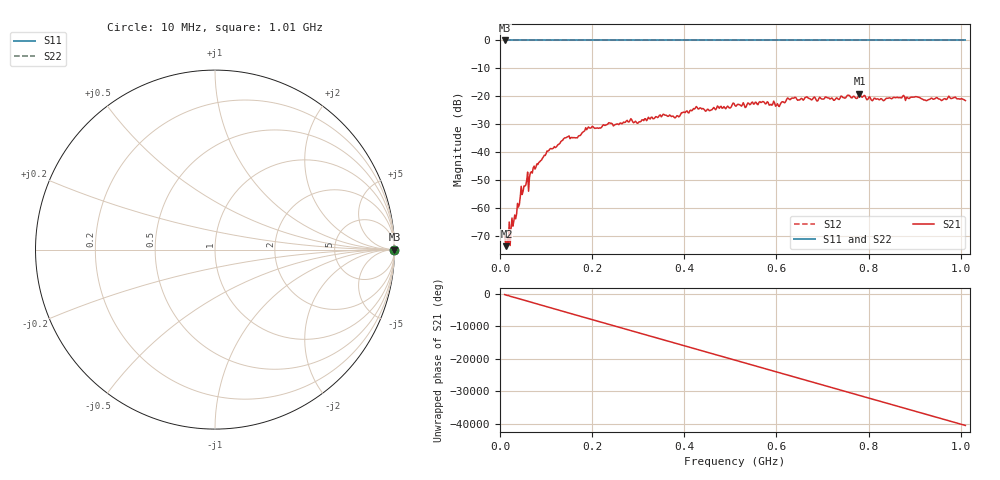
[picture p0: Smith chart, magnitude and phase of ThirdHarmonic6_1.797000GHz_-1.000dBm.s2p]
! 8/16/2025 9:45:01 PM
! C:\ANRITSUVNA\TEMP\TEMP.S2P
! CHANNEL.1
! TR.MEASUREMENT
! RAW.DATA
! RF.CORRECTION.OFF
! AVERAGING.OFF
! IF.BANDWIDTH: 5KHZ
! SWEEPTYPE:  FREQ.SWEEP(Linear)
! Reference Plane Port Info
! PORT:  PORT1  PORT2
! DISTANCE:  0  m  0  m
! TIME:  0  s  0  s
! PHASE.OFFSET:  0  deg.  0  deg.
! LOSS:  0  dB  0  dB
! REF.LOSS:  0  dB  0  dB
! REF.FREQ:  0  Hz  0  Hz
! Power Info
! POWER:  -20  dBm  -20  dBm
! EFF.POWER:  -20  dBm  -20  dBm
! SOURCE.ATTEN:  0  dB  0  dB
! TEST.ATTEN:  0  dB  0  dB
# GHZ S RI R 50.0
! FREQ.GHZ  S11RE  S11IM  S21RE  S21IM  S12RE  S12IM  S22RE  S22IM
!; PortSelection: Port_12
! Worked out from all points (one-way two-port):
!   501 points, 10 MHz to 1.01 GHz, reference 50 ohm
!   highest |S21| = -19.05 dB at 780 MHz (marker M1); lowest = -73.5 dB at 14 MHz (marker M2)
!   lowest |S11| = 0.0 dB at 10 MHz (marker M3)
!   |S11| at or under -10 dB: nowhere
!   |S22| runs from 0.0 to 0.0 dB; largest |S21 - S12| = 1.1
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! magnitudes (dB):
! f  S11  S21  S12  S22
! 10 MHz  0.0  -69.6  0.0  0.0
! 14 MHz  0.0  -73.5  0.0  0.0
! 32 MHz  0.0  -62.3  0.0  0.0
! 48 MHz  0.0  -55.0  0.0  0.0
! 66 MHz  0.0  -47.2  0.0  0.0
! 70 MHz  0.0  -47.4  0.0  0.0
! 106 MHz  0.0  -39.3  0.0  0.0
! 142 MHz  0.0  -34.8  0.0  0.0
! 178 MHz  0.0  -33.0  0.0  0.0
! 196 MHz  0.0  -31.3  0.0  0.0
! 344 MHz  0.0  -27.3  0.0  0.0
! 384 MHz  0.0  -26.9  0.0  0.0
! 424 MHz  0.0  -24.1  0.0  0.0
! 456 MHz  0.0  -25.0  0.0  0.0
! 510 MHz  0.0  -23.2  0.0  0.0
! 568 MHz  0.0  -22.1  0.0  0.0
! 602 MHz  0.0  -22.6  0.0  0.0
! 638 MHz  0.0  -20.6  0.0  0.0
! 678 MHz  0.0  -21.0  0.0  0.0
! 780 MHz  0.0  -19.0  0.0  0.0
! 844 MHz  0.0  -20.5  0.0  0.0
! 1.01 GHz  0.0  -21.5  0.0  0.0
